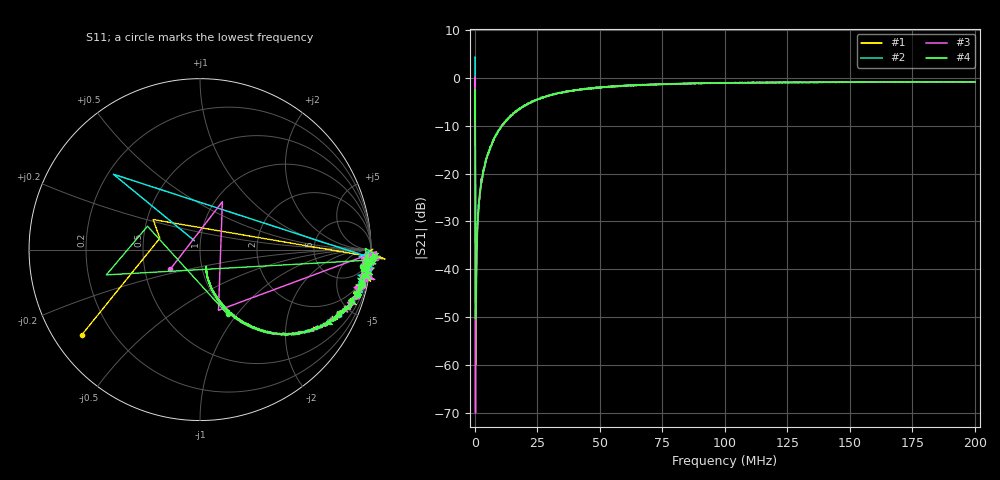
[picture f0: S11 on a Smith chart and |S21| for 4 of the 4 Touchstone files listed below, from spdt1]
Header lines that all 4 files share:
! CHANNEL.1
! TR.MEASUREMENT
! CORRECTED.DATA
# GHZ S RI R 50.0
! FREQ.GHZ  S11RE  S11IM  S21RE  S21IM  S12RE  S12IM  S22RE  S22IM
!; PortSelection: Port_12
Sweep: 50 kHz to 200 MHz
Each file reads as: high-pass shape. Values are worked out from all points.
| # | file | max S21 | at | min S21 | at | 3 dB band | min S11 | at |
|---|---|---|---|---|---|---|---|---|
| 1 | spdt1_t1_rf1_0.s2p | -0.81 dB | 175.3 MHz | -60.0 dB | 350.1 kHz | 29.56 MHz-200 MHz | -19.5 dB | 200 MHz |
| 2 | spdt1_t1_rf1_1.s2p | 4.31 dB | 50 kHz | -47.8 dB | 450.1 kHz | 50 kHz-50 kHz | -24.2 dB | 150 kHz |
| 3 | spdt1_t2_rf2_0.s2p | 0.23 dB | 150 kHz | -70.1 dB | 250 kHz | 38.66 MHz-200 MHz | -19.5 dB | 200 MHz |
| 4 | spdt1_t2_rf2_1.s2p | -0.78 dB | 186.4 MHz | -50.3 dB | 250 kHz | 29.56 MHz-200 MHz | -19.5 dB | 199.8 MHz |
